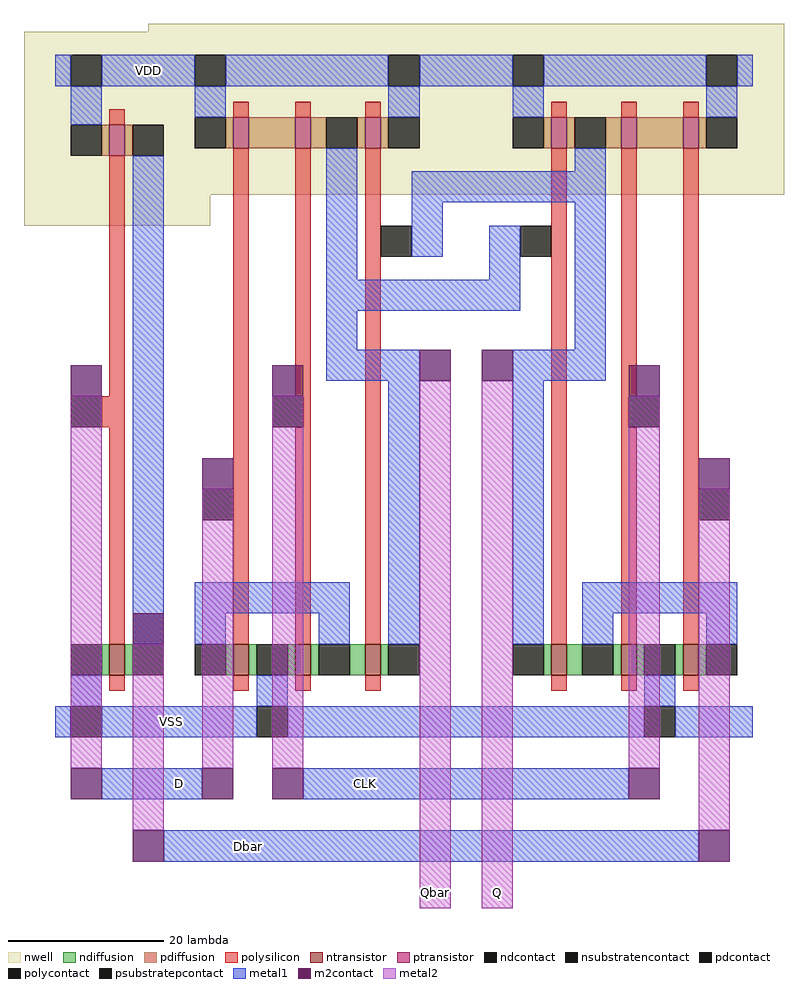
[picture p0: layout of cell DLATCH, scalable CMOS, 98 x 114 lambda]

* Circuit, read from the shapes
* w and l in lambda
.subckt DLATCH CLK D Dbar Q Qbar VDD VSS
M1 Dbar D VSS VSS nfet w=4 l=2
M2 VSS D n1 VSS nfet w=4 l=2
M3 n1 CLK VSS VSS nfet w=4 l=2
M4 Qbar Q n1 VSS nfet w=4 l=2
M5 n2 Qbar Q VSS nfet w=4 l=2
M6 VSS CLK n2 VSS nfet w=4 l=2
M7 n2 Dbar VSS VSS nfet w=4 l=2
M8 Dbar D VDD VDD pfet w=4 l=2
M9 n3 D VDD VDD pfet w=4 l=2
M10 Qbar CLK n3 VDD pfet w=4 l=2
M11 VDD Q Qbar VDD pfet w=4 l=2
M12 Q Qbar VDD VDD pfet w=4 l=2
M13 n4 CLK Q VDD pfet w=4 l=2
M14 VDD Dbar n4 VDD pfet w=4 l=2
.ends

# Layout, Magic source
magic
tech scmos
<< metal1 >>
rect 12 84 20 88
rect 53 84 61 88
rect 50 69 72 73
rect 50 62 54 69
rect 60 59 64 66
rect 43 55 64 59
rect 15 0 23 4
rect 53 0 61 4
rect 10 -8 23 -4
rect 36 -8 78 -4
rect 18 -16 87 -12
<< m2contact >>
rect 6 44 10 48
rect 32 44 36 48
rect 51 46 55 50
rect 59 46 63 50
rect 78 44 82 48
rect 23 32 27 36
rect 87 32 91 36
rect 14 12 18 16
rect 6 -8 10 -4
rect 23 -8 27 -4
rect 32 -8 36 -4
rect 78 -8 82 -4
rect 14 -16 18 -12
rect 87 -16 91 -12
<< metal2 >>
rect 6 -4 10 44
rect 14 -12 18 12
rect 23 -4 27 32
rect 32 -4 36 44
rect 51 -22 55 46
rect 59 -22 63 46
rect 78 -4 82 44
rect 87 -12 91 32
use INV  INV_0
transform 1 0 4 0 1 0
box -4 0 20 91
use OAI21  OAI21_0
transform 1 0 20 0 1 0
box -4 0 37 92
use OAI21  OAI21_1
transform -1 0 94 0 1 0
box -4 0 37 92
<< labels >>
rlabel metal1 16 86 16 86 1 VDD
rlabel metal1 19 2 19 2 1 VSS
rlabel metal1 20 -6 20 -6 1 D
rlabel metal1 44 -6 44 -6 1 CLK
rlabel metal1 29 -14 29 -14 1 Dbar
rlabel metal2 53 -20 53 -20 1 Qbar
rlabel metal2 61 -20 61 -20 1 Q
<< end >>

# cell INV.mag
magic
tech scmos
<< nwell >>
rect -4 66 20 91
<< ntransistor >>
rect 7 8 9 12
<< ptransistor >>
rect 7 75 9 79
<< ndiffusion >>
rect 6 8 7 12
rect 9 8 10 12
<< pdiffusion >>
rect 6 75 7 79
rect 9 75 10 79
<< ndcontact >>
rect 2 8 6 12
rect 10 8 14 12
<< pdcontact >>
rect 2 75 6 79
rect 10 75 14 79
<< psubstratepcontact >>
rect 2 0 6 4
<< nsubstratencontact >>
rect 2 84 6 88
<< polysilicon >>
rect 7 79 9 81
rect 7 44 9 75
rect 6 40 9 44
rect 7 12 9 40
rect 7 6 9 8
<< polycontact >>
rect 2 40 6 44
<< metal1 >>
rect 0 84 2 88
rect 6 84 16 88
rect 2 79 6 84
rect 10 12 14 75
rect 2 4 6 8
rect 0 0 2 4
rect 6 0 16 4
<< labels >>
rlabel metal1 1 2 1 2 2 VSS
rlabel metal1 12 17 12 17 1 Y
rlabel metal1 1 86 1 86 4 VDD
rlabel polycontact 4 42 4 42 1 A
<< end >>

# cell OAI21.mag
magic
tech scmos
<< nwell >>
rect -4 70 37 92
<< ntransistor >>
rect 7 8 9 12
rect 15 8 17 12
rect 24 8 26 12
<< ptransistor >>
rect 7 76 9 80
rect 15 76 17 80
rect 24 76 26 80
<< ndiffusion >>
rect 6 8 7 12
rect 9 8 10 12
rect 14 8 15 12
rect 17 8 18 12
rect 22 8 24 12
rect 26 8 27 12
<< pdiffusion >>
rect 6 76 7 80
rect 9 76 15 80
rect 17 76 19 80
rect 23 76 24 80
rect 26 76 27 80
<< ndcontact >>
rect 2 8 6 12
rect 10 8 14 12
rect 18 8 22 12
rect 27 8 31 12
<< pdcontact >>
rect 2 76 6 80
rect 19 76 23 80
rect 27 76 31 80
<< psubstratepcontact >>
rect 10 0 14 4
<< nsubstratencontact >>
rect 2 84 6 88
rect 27 84 31 88
<< polysilicon >>
rect 7 80 9 82
rect 15 80 17 82
rect 24 80 26 82
rect 7 12 9 76
rect 15 44 17 76
rect 16 40 17 44
rect 15 12 17 40
rect 24 12 26 76
rect 7 6 9 8
rect 15 6 17 8
rect 24 6 26 8
<< polycontact >>
rect 3 28 7 32
rect 12 40 16 44
rect 26 62 30 66
<< metal1 >>
rect 0 84 2 88
rect 6 84 27 88
rect 31 84 33 88
rect 2 80 6 84
rect 27 80 31 84
rect 19 50 23 76
rect 19 46 31 50
rect 2 16 22 20
rect 2 12 6 16
rect 18 12 22 16
rect 27 12 31 46
rect 10 4 14 8
rect 0 0 10 4
rect 14 0 33 4
<< labels >>
rlabel nsubstratencontact 29 86 29 86 1 VDD
rlabel nsubstratencontact 4 86 4 86 1 VDD
rlabel polycontact 5 30 5 30 1 A
rlabel psubstratepcontact 12 2 12 2 1 VSS
rlabel polycontact 14 42 14 42 1 B
rlabel metal1 29 48 29 48 1 Y
rlabel polycontact 28 64 28 64 1 C
<< end >>
